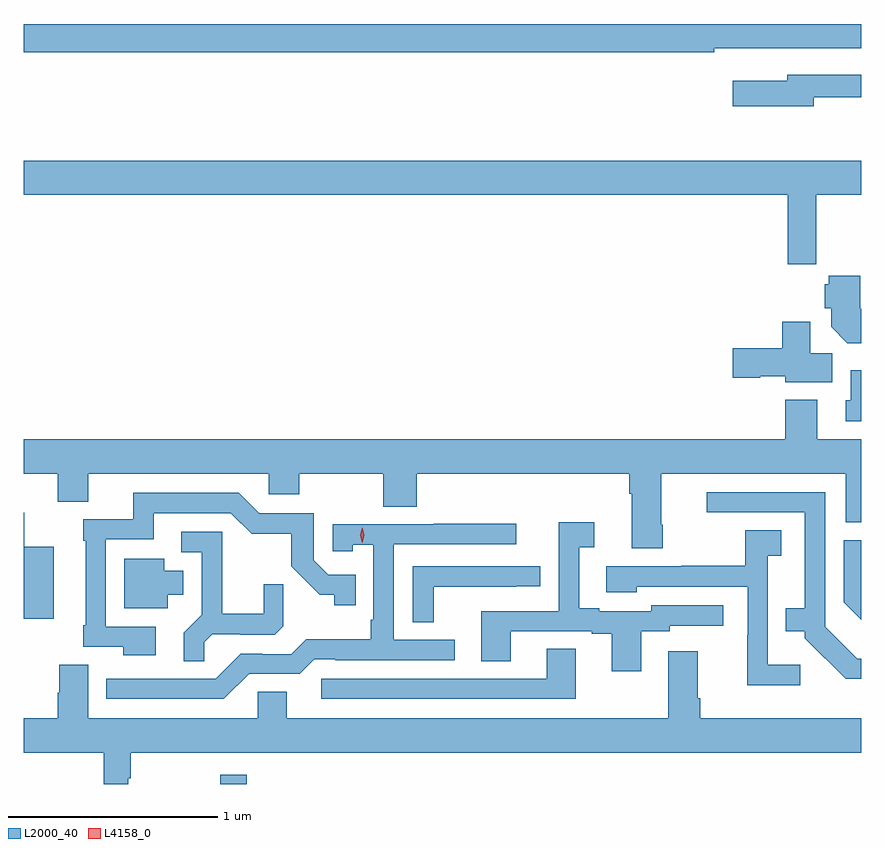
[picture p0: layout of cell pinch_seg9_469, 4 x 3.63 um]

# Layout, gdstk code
import gdstk
lib = gdstk.Library(unit=1e-6, precision=1e-09)
def R(c, l, rs):  # rectangles x0, y0, x1, y1
    for r in rs: c.add(gdstk.rectangle(r[:2], r[2:], *l))
def P(c, l, *ps):  # polygons
    for p in ps: c.add(gdstk.Polygon(p, *l))
L2000_40 = (2000, 40)
L4158_0 = (4158, 0)

pinch_seg9_469 = lib.new_cell('pinch_seg9_469')
R(pinch_seg9_469, L2000_40, [(387.996,1180.286,388.124,1180.33)])
P(pinch_seg9_469, L2000_40, [(390.356,1183.799),(390.608,1183.799),(390.608,1183.8),(391.058,1183.8),(391.058,1183.916),(387.058,1183.916),(387.058,1183.78),(390.356,1183.78)],
  [(390.832,1183.566),(391.058,1183.566),(391.058,1183.674),(390.704,1183.674),(390.704,1183.645),(390.444,1183.645),(390.444,1183.523),(390.832,1183.523)],
  [(390.842,1183.1),(391.058,1183.1),(391.058,1183.264),(387.058,1183.264),(387.058,1183.1),(390.706,1183.1),(390.706,1182.768),(390.842,1182.768)],
  [(391.058,1182.556),(391.054,1182.556),(391.054,1182.713),(390.902,1182.713),(390.902,1182.672),(390.884,1182.672),(390.884,1182.558),(390.914,1182.558),(390.914,1182.47),(390.992,1182.392),(391.058,1182.392)],
  [(390.919,1182.344),(390.814,1182.344),(390.814,1182.493),(390.68,1182.493),(390.68,1182.368),(390.444,1182.368),(390.444,1182.226),(390.576,1182.226),(390.576,1182.233),(390.696,1182.233),(390.696,1182.206),(390.919,1182.206)],
  [(391.058,1182.262),(391.007,1182.262),(391.007,1182.12),(390.983,1182.12),(390.983,1182.018),(391.058,1182.018)],
  [(390.111,1181.524),(390.103,1181.524),(390.103,1181.768),(390.983,1181.768),(390.983,1181.536),(391.058,1181.536),(391.058,1181.932),(390.847,1181.932),(390.847,1182.121),(390.695,1182.121),(390.695,1181.932),(387.058,1181.932),(387.058,1181.768),(387.22,1181.768),(387.22,1181.635),(387.367,1181.635),(387.367,1181.768),(388.227,1181.768),(388.227,1181.67),(388.374,1181.67),(388.374,1181.768),(388.774,1181.768),(388.774,1181.611),(388.934,1181.611),(388.934,1181.768),(389.951,1181.768),(389.951,1181.672),(389.963,1181.672),(389.963,1181.412),(390.111,1181.412)],
  [(391.058,1180.884),(391.038,1180.884),(390.885,1181.037),(390.885,1181.679),(390.321,1181.679),(390.321,1181.583),(390.788,1181.583),(390.788,1181.125),(390.697,1181.125),(390.697,1181.015),(390.789,1181.015),(390.789,1180.983),(390.984,1180.788),(391.058,1180.788)],
  [(387.688,1181.037),(387.45,1181.037),(387.45,1181.454),(387.679,1181.454),(387.679,1181.58),(388.047,1181.58),(388.146,1181.482),(388.335,1181.482),(388.335,1181.326),(388.472,1181.189),(388.542,1181.189),(388.542,1181.139),(388.643,1181.139),(388.643,1181.286),(388.512,1181.286),(388.443,1181.355),(388.443,1181.58),(388.182,1181.58),(388.086,1181.676),(387.581,1181.676),(387.581,1181.55),(387.342,1181.55),(387.342,1181.447),(387.353,1181.447),(387.353,1181.044),(387.342,1181.044),(387.342,1180.941),(387.532,1180.941),(387.532,1180.901),(387.688,1180.901)],
  [(387.202,1181.419),(387.06,1181.419),(387.06,1181.581),(387.058,1181.581),(387.058,1181.075),(387.202,1181.075)],
  [(390.007,1181.016),(390.144,1181.016),(390.144,1181.043),(390.4,1181.043),(390.4,1181.139),(390.054,1181.139),(390.054,1181.112),(389.806,1181.112),(389.806,1181.125),(389.71,1181.125),(389.71,1181.416),(389.782,1181.416),(389.782,1181.536),(389.613,1181.536),(389.613,1181.112),(389.243,1181.112),(389.243,1180.873),(389.383,1180.873),(389.383,1181.016),(389.771,1181.016),(389.771,1181.004),(389.867,1181.004),(389.867,1180.824),(390.007,1180.824)],
  [(388.134,1180.812),(388.377,1180.812),(388.446,1180.881),(388.546,1180.881),(388.546,1180.878),(389.116,1180.878),(389.116,1180.974),(388.824,1180.974),(388.824,1181.43),(389.41,1181.43),(389.41,1181.529),(389.017,1181.529),(389.017,1181.526),(388.533,1181.526),(388.533,1181.397),(388.629,1181.397),(388.629,1181.429),(388.728,1181.429),(388.728,1181.071),(388.716,1181.071),(388.716,1180.978),(388.408,1180.978),(388.335,1180.905),(388.196,1180.905),(388.196,1180.908),(388.095,1180.908),(387.975,1180.788),(387.452,1180.788),(387.452,1180.692),(388.014,1180.692)],
  [(390.766,1180.855),(390.612,1180.855),(390.612,1181.377),(390.676,1181.377),(390.676,1181.498),(390.504,1181.498),(390.504,1181.328),(390.199,1181.328),(390.199,1181.325),(389.841,1181.325),(389.841,1181.201),(389.985,1181.201),(389.985,1181.229),(390.516,1181.229),(390.516,1180.997),(390.514,1180.997),(390.514,1180.757),(390.766,1180.757)],
  [(387.921,1180.964),(387.958,1181.001),(388.092,1181.001),(388.092,1180.998),(388.257,1180.998),(388.298,1181.039),(388.298,1181.241),(388.204,1181.241),(388.204,1181.098),(388.007,1181.098),(388.007,1181.49),(387.81,1181.49),(387.81,1181.394),(387.909,1181.394),(387.909,1181.095),(387.823,1181.009),(387.823,1180.873),(387.921,1180.873)],
  [(391.058,1181.451),(390.975,1181.451),(390.975,1181.153),(391.058,1181.07)],
  [(387.745,1181.189),(387.82,1181.189),(387.82,1181.305),(387.73,1181.305),(387.73,1181.362),(387.539,1181.362),(387.539,1181.126),(387.745,1181.126)],
  [(389.016,1181.229),(389.411,1181.229),(389.411,1181.23),(389.524,1181.23),(389.524,1181.325),(388.917,1181.325),(388.917,1181.059),(389.016,1181.059)],
  [(389.695,1180.931),(389.555,1180.931),(389.555,1180.788),(388.479,1180.788),(388.479,1180.692),(389.695,1180.692)],
  [(387.556,1180.313),(387.568,1180.313),(387.568,1180.436),(391.058,1180.436),(391.058,1180.6),(390.29,1180.6),(390.29,1180.696),(390.277,1180.696),(390.277,1180.921),(390.137,1180.921),(390.137,1180.6),(388.315,1180.6),(388.315,1180.727),(388.176,1180.727),(388.176,1180.6),(387.367,1180.6),(387.367,1180.856),(387.227,1180.856),(387.227,1180.722),(387.22,1180.722),(387.22,1180.6),(387.058,1180.6),(387.058,1180.436),(387.439,1180.436),(387.439,1180.286),(387.556,1180.286)])
P(pinch_seg9_469, L4158_0, [(388.675,1181.438),(388.675,1181.439),(388.665,1181.475),(388.675,1181.511),(388.675,1181.511),(388.675,1181.511),(388.685,1181.475),(388.675,1181.439)])

lib.write_gds('pinch_seg9_469.gds')
